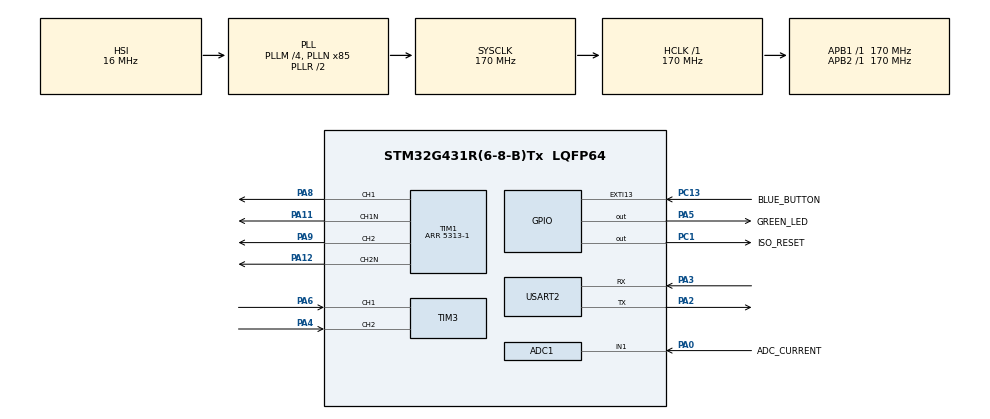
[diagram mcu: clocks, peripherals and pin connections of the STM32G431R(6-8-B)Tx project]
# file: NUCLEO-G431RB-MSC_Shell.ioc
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ADC1.Channel-0\#ChannelRegularConversion=ADC_CHANNEL_1
ADC1.ContinuousConvMode=DISABLE
ADC1.DMAContinuousRequests=ENABLE
ADC1.ExternalTrigConv=ADC_EXTERNALTRIG_T8_TRGO
ADC1.NbrOfConversion=1
ADC1.NbrOfConversionFlag=1
ADC1.OffsetNumber-0\#ChannelRegularConversion=ADC_OFFSET_NONE
ADC1.Rank-0\#ChannelRegularConversion=1
ADC1.SamplingTime-0\#ChannelRegularConversion=ADC_SAMPLETIME_2CYCLES_5
ADC1.master=1
Dma.ADC1.0.Direction=DMA_PERIPH_TO_MEMORY
Dma.ADC1.0.EventEnable=DISABLE
Dma.ADC1.0.Instance=DMA1_Channel1
Dma.ADC1.0.MemDataAlignment=DMA_MDATAALIGN_HALFWORD
Dma.ADC1.0.MemInc=DMA_MINC_ENABLE
Dma.ADC1.0.Mode=DMA_CIRCULAR
Dma.ADC1.0.PeriphDataAlignment=DMA_PDATAALIGN_HALFWORD
Dma.ADC1.0.PeriphInc=DMA_PINC_DISABLE
Dma.ADC1.0.Polarity=HAL_DMAMUX_REQ_GEN_RISING
Dma.ADC1.0.Priority=DMA_PRIORITY_LOW
Dma.ADC1.0.RequestNumber=1
Dma.ADC1.0.SignalID=NONE
Dma.ADC1.0.SyncEnable=DISABLE
Dma.ADC1.0.SyncPolarity=HAL_DMAMUX_SYNC_NO_EVENT
Dma.ADC1.0.SyncRequestNumber=1
Dma.ADC1.0.SyncSignalID=NONE
Dma.Request0=ADC1
Mcu.Family=STM32G4
Mcu.Name=STM32G431R(6-8-B)Tx
Mcu.Package=LQFP64
NVIC.ADC1_2_IRQn=true\:0\:0\:false\:false\:true\:true\:true\:true
NVIC.DMA1_Channel1_IRQn=true\:0\:0\:false\:false\:true\:false\:true\:true
NVIC.PriorityGroup=NVIC_PRIORITYGROUP_4
NVIC.TIM4_IRQn=true\:0\:0\:false\:false\:true\:true\:true\:true
NVIC.TIM6_DAC_IRQn=true\:15\:0\:false\:false\:true\:false\:true\:true
NVIC.TimeBase=TIM6_DAC_IRQn
NVIC.TimeBaseIP=TIM6
NVIC.USART2_IRQn=true\:0\:0\:false\:false\:true\:true\:true\:true
PA0.GPIO_Label=ADC_CURRENT
PA0.Mode=IN1-Single-Ended
PA0.Signal=ADC1_IN1
PA11.Mode=PWM Generation1 CH1 CH1N
PA11.Signal=TIM1_CH1N
PA12.Mode=PWM Generation2 CH2 CH2N
PA12.Signal=TIM1_CH2N
PA13.GPIO_Label=T_SWDIO
PA13.Mode=Serial_Wire
PA13.Signal=SYS_JTMS-SWDIO
PA14.GPIO_Label=T_SWCLK
PA14.Mode=Serial_Wire
PA14.Signal=SYS_JTCK-SWCLK
PA2.Mode=Asynchronous
PA2.Signal=USART2_TX
PA3.Mode=Asynchronous
PA3.Signal=USART2_RX
PA4.Signal=S_TIM3_CH2
PA5.GPIO_Label=GREEN_LED
PA5.Signal=GPIO_Output
PA6.Signal=S_TIM3_CH1
PA8.Signal=S_TIM1_CH1
PA9.Signal=S_TIM1_CH2
PC1.GPIO_Label=ISO_RESET
PC1.Signal=GPIO_Output
PC13.GPIO_Label=BLUE_BUTTON
PC13.Signal=GPXTI13
PC14-OSC32_IN.Mode=LSE-External-Oscillator
PC14-OSC32_IN.Signal=RCC_OSC32_IN
PC15-OSC32_OUT.Mode=LSE-External-Oscillator
PC15-OSC32_OUT.Signal=RCC_OSC32_OUT
PF0-OSC_IN.Mode=HSE-External-Oscillator
PF0-OSC_IN.Signal=RCC_OSC_IN
PF1-OSC_OUT.Mode=HSE-External-Oscillator
PF1-OSC_OUT.Signal=RCC_OSC_OUT
ProjectManager.HeapSize=0x200
ProjectManager.StackSize=0x400
ProjectManager.TargetToolchain=STM32CubeIDE
RCC.ADC12Freq_Value=170000000
RCC.AHBFreq_Value=170000000
RCC.APB1Freq_Value=170000000
RCC.APB1TimFreq_Value=170000000
RCC.APB2Freq_Value=170000000
RCC.APB2TimFreq_Value=170000000
RCC.CortexFreq_Value=170000000
RCC.EXTERNAL_CLOCK_VALUE=12288000
RCC.HCLKFreq_Value=170000000
RCC.HSE_VALUE=24000000
RCC.HSI48_VALUE=48000000
RCC.HSI_VALUE=16000000
RCC.PLLM=RCC_PLLM_DIV4
RCC.PLLN=85
RCC.RTCClockSelection=RCC_RTCCLKSOURCE_LSE
RCC.SYSCLKFreq_VALUE=170000000
RCC.SYSCLKSource=RCC_SYSCLKSOURCE_PLLCLK
RCC.USBFreq_Value=170000000
RCC.VCOOutputFreq_Value=340000000
SH.S_TIM1_CH1.0=TIM1_CH1,PWM Generation1 CH1 CH1N
SH.S_TIM1_CH2.0=TIM1_CH2,PWM Generation2 CH2 CH2N
SH.S_TIM3_CH1.0=TIM3_CH1,Encoder_Interface
SH.S_TIM3_CH2.0=TIM3_CH2,Encoder_Interface
TIM1.AutoReloadPreload=TIM_AUTORELOAD_PRELOAD_ENABLE
TIM1.Channel-PWM\ Generation1\ CH1\ CH1N=TIM_CHANNEL_1
TIM1.Channel-PWM\ Generation2\ CH2\ CH2N=TIM_CHANNEL_2
TIM1.CounterMode=TIM_COUNTERMODE_CENTERALIGNED1
TIM1.DeadTime=203
TIM1.PeriodNoDither=5313-1
TIM1.PulseNoDither_1=1329-1
TIM1.PulseNoDither_2=3987-1
TIM1.TIM_MasterOutputTrigger=TIM_TRGO_RESET
TIM1.TIM_MasterSlaveMode=TIM_MASTERSLAVEMODE_DISABLE
TIM3.EncoderMode=TIM_ENCODERMODE_TI12
TIM4.PeriodNoDither=100-1
TIM4.Prescaler=17000-1
TIM8.PeriodNoDither=531-1
TIM8.Prescaler=0
TIM8.TIM_MasterOutputTrigger=TIM_TRGO_UPDATE
TIM8.TIM_MasterSlaveMode=TIM_MASTERSLAVEMODE_ENABLE
USART2.VirtualMode-Asynchronous=VM_ASYNC
VP_SYS_VS_tim6.Mode=TIM6
VP_TIM1_VS_ClockSourceINT.Mode=Internal
VP_TIM4_VS_ClockSourceINT.Mode=Internal
VP_TIM8_VS_ClockSourceINT.Mode=Internal
board=NUCLEO-G431RB

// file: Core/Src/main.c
/* USER CODE BEGIN Header */
/**
 ******************************************************************************
 * @file           : main.c
 * @brief          : Main program body
 ******************************************************************************
 * @attention
 *
 * Copyright (c) 2022 STMicroelectronics.
 * All rights reserved.
 *
 * This software is licensed under terms that can be found in the LICENSE file
 * in the root directory of this software component.
 * If no LICENSE file comes with this software, it is provided AS-IS.
 *
 ******************************************************************************
 */
/* USER CODE END Header */
#include "main.h"

/* USER CODE BEGIN Includes */
#include <math.h>
#include <stdio.h>
/* USER CODE END Includes */

/* USER CODE BEGIN PD */
#define UART_TX_BUFFER_SIZE 64
#define UART_RX_BUFFER_SIZE 1
#define CMD_BUFFER_SIZE 64
#define MAX_ARGS 9
//ADC DMA defines
#define ADC_BUFF_SIZE 10
// LF = line feed, saut de ligne
#define ASCII_LF 0x0A
// CR = carriage return, retour chariot
#define ASCII_CR 0x0D
// DEL = delete
#define ASCII_DEL 0x7F
#define TIM1_ARR 5312
//ISO_RESET
#define ISO_RESET_TIME 70
//SPEED TIMERS DEFINES
#define HALF_COUNTER_ENCODER 32767
#define SAMPLING_FREQ_SPEED 100
#define RISES_PER_TURN 4096

//CURRENT SAMPLING PARAMETERS
#define SAMPLING_FREQ_CURRENT 32000

//integral and proportional gains for current loop
#define KpC 0.0342717381517845
#define KiC 25.206814338745
// #define KiC 0.00118870172705228
//integral and proportional gains for speed loop
#define KpS 2.25311945059239
#define KiS 7.88672319650441

#define NOMINAL_CURRENT 12.2
/* USER CODE END PD */

ADC_HandleTypeDef hadc1;
DMA_HandleTypeDef hdma_adc1;

TIM_HandleTypeDef htim1;
TIM_HandleTypeDef htim3;
TIM_HandleTypeDef htim4;
TIM_HandleTypeDef htim8;

UART_HandleTypeDef huart2;

/* USER CODE BEGIN PV */
uint8_t prompt[]="user@Nucleo-STM32G431>>";
uint8_t started[]=
		"\r\n*-----------------------------*"
		"\r\n| Welcome on Nucleo-STM32G431 |"
		"\r\n*-----------------------------*"
		"\r\n";
uint8_t newline[]="\r\n";
uint8_t cmdNotFound[]="Command not found\r\n";
uint8_t helpContent[]="\r\n set \r\n get \r\n pinout \r\n start \r\n stop \r\n dutycycle - value between 0 and 100 \r\n current - value in mAmpere requested \r\n \r\n";
uint8_t pinoutContent[]="\r\n PA2: USART TX \r\n PA3: USART RX \r\n PA5: LED \r\n PA8: TIM1_CH1 \r\n PA9: TIM1_CH2 \r\n PA11: TIM1_CH1N \r\n PA12: TIM1_CH2N \r\n PC13: BUTTON \r\n";
uint8_t startContent[]="\r\n power on \r\n";
uint8_t stopContent[]="\r\n power off \r\n";
uint8_t dutyCycleChoiceContent[]="\r\n duty cycle value chosen \r\n";
uint8_t CurrentChoiceContent[]="\r\n current value chosen \r\n";
int dutycycle; /**< value between 1 and 0 */
int pulse;

uint32_t uartRxReceived;
uint32_t DMA_Received; /**< variable used as a flag. If it is 1 the DMA buffer is full and the current average calculation process can be performed, if it is 0 DMA is not full yet */
uint8_t uartRxBuffer[UART_RX_BUFFER_SIZE];
uint8_t uartTxBuffer[UART_TX_BUFFER_SIZE];
uint16_t ADC_buffer[ADC_BUFF_SIZE];
int i=0; /**< used for ISO_RESET time counter and to sum elements in DMA buffer */

uint16_t Raw_Data_Sum=0; /**< variable in which is stored the sum of all the raw values from the sensor */
float Average_Voltage; /**< raw sensed value on average */
float Converted_Average_Voltage; /**< actual voltage value in output, converted ad follows: Converted_Average_Voltage=(Average_Voltage/4095.0)*3.3 */
float Sensed_Current_Value; /**< average current value in output, converted ad follows: Sensed_Current_Value=12*(Converted_Average_Voltage -2.5); values for the conversion are take by datasheet */
float CurrentValueFloat; /**< value of the current at present time */
float requestedCurrent; /**< value in Ampere */
float errorI[2];/**<array with the values of the current error at previous time instant, errorI[0], and present time instant, errorI[1] */
float alphaI[2];/**<array with the values of the dutycycle value of the integral part of the controller at previous time instant, errorI[0], and present time instant, errorI[1]*/
float alphaP; /**< proportional part of current control*/
float oldCurrent;  /**<value of the current at the previous time instant used for PI controller. Set at the beginning to 0*/

float RotSpeed;
float requestedSpeed; //**< value in rpm*/
float speedP;  /**< proportional part of speed control*/
float errorS[2];/**<array with the values of the speed error at previous time instant, errorI[0], and present time instant, errorI[1] */
float speedI[2];/**<array with the values of the speed value of the integral part of the controller at previous time instant, errorI[0], and present time instant, errorI[1]*/
char Current_Sensed[50];
int CurrentPIcontrollerEnable=0;
int SpeedPIcontrollerEnable=0;
int k=0;  /**< used in the for to print the sensed current value with a delay (only for debug) */

static uint32_t EncoderCounterValue;
char Speed_Sensed[50];
int CounterTaken = 0;
float speed;
/* USER CODE END PV */

void SystemClock_Config(void);
static void MX_GPIO_Init(void);
static void MX_DMA_Init(void);
static void MX_USART2_UART_Init(void);
static void MX_TIM1_Init(void);
static void MX_ADC1_Init(void);
static void MX_TIM8_Init(void);
static void MX_TIM3_Init(void);
static void MX_TIM4_Init(void);
/* USER CODE BEGIN PFP */

/**
 * @brief ISO_RESET signal function
 * @note   This function is called  when command "start" is written in the terminal
 * ISO_RESET pin is set to high level for at least 20 microseconds and then reset to low
 * using a for cycle to delay the operation
 * @param None
 * @retval None
 */
void ISO_RESET()
{
	HAL_GPIO_WritePin(ISO_RESET_GPIO_Port, ISO_RESET_Pin, GPIO_PIN_SET);
	for(i=0; i<ISO_RESET_TIME; i++)
	{
		//wait for at least 2microSec
	}
	HAL_GPIO_WritePin(ISO_RESET_GPIO_Port, ISO_RESET_Pin, GPIO_PIN_RESET);
}
/**
 * @brief PWM timers start function
 * @note   This function is called  when command "start" is written in the terminal
 * after ISO_RESET command the PWM timers are started to command the power supply and then the motor
 * @param None
 * @retval None
 */
void StartPWM()
{
	//Timers start
	HAL_TIM_PWM_Start(&htim1, TIM_CHANNEL_1);
	HAL_TIM_PWM_Start(&htim1, TIM_CHANNEL_2);
	HAL_TIMEx_PWMN_Start(&htim1, TIM_CHANNEL_1);
	HAL_TIMEx_PWMN_Start(&htim1, TIM_CHANNEL_2);
}
/**
 * @brief PWM timers stop function
 * @note   This function is called  when command "stop" is written in the terminal
 * PWM timers are stopped and then the motor is stopped
 * @param None
 * @retval None
 */
void StopPWM()
{
	//Timers stop
	HAL_TIM_PWM_Stop(&htim1, TIM_CHANNEL_1);
	HAL_TIM_PWM_Stop(&htim1, TIM_CHANNEL_2);
	HAL_TIMEx_PWMN_Stop(&htim1, TIM_CHANNEL_1);
	HAL_TIMEx_PWMN_Stop(&htim1, TIM_CHANNEL_2);
}

/**
 * @brief duty cycle function definition
 * @note   This function converts raw voltage data from ADC to current value to be used in the controller
 * @param int
 * @retval None
 */
void DutyCycleFuncDef(int dutycycleIN)
{
	pulse=(dutycycleIN*TIM1_ARR)/100;
	TIM1->CCR1=pulse;
	TIM1->CCR2=TIM1_ARR-pulse;
}
/**
 * @brief current conversion function
 * @note   This function converts raw voltage data from ADC to current value to be used in the controller
 * @param None
 * @retval float
 */
float CurrentConversion()
{
	//HAL_UART_Transmit(&huart2, "DMA current recieved\r\n ", sizeof("DMA current recieved\r\n"), HAL_MAX_DELAY);
	Raw_Data_Sum=0;
	for(i=0;i<10;i++){
		Raw_Data_Sum=Raw_Data_Sum+ADC_buffer[i];
	}
	Average_Voltage=Raw_Data_Sum/ADC_BUFF_SIZE;
	Converted_Average_Voltage=(Average_Voltage/4095.0)*3.3;
	Sensed_Current_Value=12*(Converted_Average_Voltage -2.5); //usually 12 but for this acheur is 2,25 (3x1,5/2)
	sprintf(Current_Sensed, "current sensed is %.3f \r\n", Sensed_Current_Value);
	//for debug - prints current value
	if(k==100000){
		HAL_UART_Transmit(&huart2, Current_Sensed, sizeof(Current_Sensed), HAL_MAX_DELAY);
		//HAL_UART_Transmit(&huart2, ADC_buffer, sizeof(ADC_buffer), HAL_MAX_DELAY);
		k=0;
	}
	return Sensed_Current_Value;
}
/**
 * @brief speed calculation from encoder counter value
 * @note   This function converts encoder counter value in speed in rad/sec
 * @param int
 * @retval float
 */
float SpeedCalculation(uint32_t counter)
{
	speed = 2 * 3.14 * (((float)counter-HALF_COUNTER_ENCODER)/RISES_PER_TURN) * SAMPLING_FREQ_SPEED;
	return speed;
}
/**
 * @brief PI controller for current loop
 * @note   this note takes the value of the current requested by the user and determines the duty cycle. The PI controller gains are determined with simulation and
 * are defined values. The anti wind-up is done as well in the controller. Current values are defined globally and used in the function.
 * the output value is the dutycycle value, between 0 and 100
 * @param float
 * @retval int
 */
int CurrentPI(float CurrentReq)
{
	int alpha;

	//new error calculation
	errorI[1]=CurrentReq-CurrentValueFloat;

	//proportional and integral alpha calculation
	alphaP=KpC*errorI[1];
	alphaI[1]=alphaI[0]+((KiC/(2*SAMPLING_FREQ_CURRENT))*(errorI[1]+errorI[0]));
	alpha= 100*(alphaP+alphaI[1]);

	//error and alpha values storage
	errorI[0]=errorI[1];
	alphaI[0]=alphaI[1];

	//anti wind-up
	if(alpha>100)
	{
		alpha=100;
		alphaI[0]=1;
	}
	else if(alpha<0)
	{
		alpha=0;
		alphaI[0]=0;
	}
	return alpha;

}
/**
 * @brief PI controller for speed loop
 * @note   this note takes the value of the current requested by the user and determines the duty cycle. The PI controller gains are determined with simulation and
 * are defined values. The anti wind-up is done as well in the controller. Current values are defined globally and used in the function.
 * the output value is the current needed for the speed requested
 * @param float
 * @retval int
 */
float SpeedPI(float SpeedReq)
{
	float currentControlled;

	//new error calculation
	errorS[1]=SpeedReq - RotSpeed;

	//proportional and integral alpha calculation
	speedP=KpS*errorS[1];
	speedI[1]=speedI[0]+((KiS/(2*SAMPLING_FREQ_SPEED))*(errorS[1]+errorS[0]));
	currentControlled = (speedP+speedI[1]);

	//error and alpha values storage
	errorS[0]=errorS[1];
	speedI[0]=speedI[1];

	//anti wind-up
	if(currentControlled>NOMINAL_CURRENT)
	{
		currentControlled=NOMINAL_CURRENT;
		errorS[0]=NOMINAL_CURRENT;
	}
	else if(currentControlled<-NOMINAL_CURRENT)
	{
		currentControlled=-NOMINAL_CURRENT;
		errorS[0]=-NOMINAL_CURRENT;
	}
	return currentControlled;

}
/* USER CODE END PFP */

int main(void)
{
	/* USER CODE BEGIN 1 */
	char	 	cmdBuffer[CMD_BUFFER_SIZE];
	int 		idx_cmd;
	char* 		argv[MAX_ARGS];
	int		 	argc = 0;
	char*		token;
	int 		newCmdReady = 0;
	//variable initialization
	oldCurrent=0;
	errorI[0]=0;
	alphaI[0]=0.5;
	CurrentValueFloat=0;
	errorS[0]=0;
	speedI[0]=0;
	/* USER CODE END 1 */

	/* MCU Configuration--------------------------------------------------------*/

	/* Reset of all peripherals, Initializes the Flash interface and the Systick. */
	HAL_Init();

	/* Configure the system clock */
	SystemClock_Config();

	/* Initialize all configured peripherals */
	MX_GPIO_Init();
	MX_DMA_Init();
	MX_USART2_UART_Init();
	MX_TIM1_Init();
	MX_ADC1_Init();
	MX_TIM8_Init();
	MX_TIM3_Init();
	MX_TIM4_Init();
	/* USER CODE BEGIN 2 */
	memset(argv,NULL,MAX_ARGS*sizeof(char*));
	memset(cmdBuffer,NULL,CMD_BUFFER_SIZE*sizeof(char));
	memset(uartRxBuffer,NULL,UART_RX_BUFFER_SIZE*sizeof(char));
	memset(uartTxBuffer,NULL,UART_TX_BUFFER_SIZE*sizeof(char));

	HAL_UART_Receive_IT(&huart2, uartRxBuffer, UART_RX_BUFFER_SIZE);
	HAL_Delay(10);
	HAL_UART_Transmit(&huart2, started, sizeof(started), HAL_MAX_DELAY);
	HAL_UART_Transmit(&huart2, prompt, sizeof(prompt), HAL_MAX_DELAY);

	//ADC starting functions
	HAL_ADCEx_Calibration_Start(&hadc1,ADC_SINGLE_ENDED);
	HAL_ADC_Start_DMA(&hadc1, ADC_buffer, ADC_BUFF_SIZE);
	HAL_TIM_Base_Start(&htim8);

	//Encoder mode TIM3 starting
	HAL_TIM_Encoder_Start_IT(&htim3, TIM_CHANNEL_ALL);
	__HAL_TIM_SET_COUNTER(&htim3, HALF_COUNTER_ENCODER); //set the counter to the half value

	// TIM4 start. Used to measure the time and determine speed
	HAL_TIM_Base_Start_IT(&htim4);

	/* USER CODE END 2 */

	/* Infinite loop */
	/* USER CODE BEGIN WHILE */
	while (1)
	{
		// uartRxReceived is set to 1 when a new character is received on uart 1
		if(uartRxReceived){
			switch(uartRxBuffer[0]){
			// Nouvelle ligne, instruction à traiter
			case ASCII_CR:
				HAL_UART_Transmit(&huart2, newline, sizeof(newline), HAL_MAX_DELAY);
				cmdBuffer[idx_cmd] = '\0';
				argc = 0;
				token = strtok(cmdBuffer, " ");
				while(token!=NULL){
					argv[argc++] = token;
					token = strtok(NULL, " ");
				}

				//requested echo transmission to check characters

				HAL_UART_Transmit(&huart2, "\r\n ", sizeof("\r\n "), HAL_MAX_DELAY);
				HAL_UART_Transmit(&huart2, cmdBuffer, sizeof(cmdBuffer), HAL_MAX_DELAY);
				HAL_UART_Transmit(&huart2, "\r\n ", sizeof("\r\n "), HAL_MAX_DELAY);

				idx_cmd = 0;
				newCmdReady = 1;
				break;
				// Suppression du dernier caractère
			case ASCII_DEL:
				cmdBuffer[idx_cmd--] = '\0';
				HAL_UART_Transmit(&huart2, uartRxBuffer, UART_RX_BUFFER_SIZE, HAL_MAX_DELAY);
				break;
				// Nouveau caractère
			default:
				cmdBuffer[idx_cmd++] = uartRxBuffer[0];
				HAL_UART_Transmit(&huart2, uartRxBuffer, UART_RX_BUFFER_SIZE, HAL_MAX_DELAY);
			}
			uartRxReceived = 0;
		}

		if(newCmdReady){
			if(strcmp(argv[0],"set")==0){
				if(strcmp(argv[1],"PA5")==0){
					HAL_GPIO_WritePin(GREEN_LED_GPIO_Port, GREEN_LED_Pin, atoi(argv[2]));
					sprintf(uartTxBuffer,"Switch on/off led : %d\r\n",atoi(argv[2]));
					HAL_UART_Transmit(&huart2, uartTxBuffer, 32, HAL_MAX_DELAY);
				}
				else{
					HAL_UART_Transmit(&huart2, cmdNotFound, sizeof(cmdNotFound), HAL_MAX_DELAY);
				}
			}
			else if(strcmp(argv[0],"get")==0)
			{
				HAL_UART_Transmit(&huart2, cmdNotFound, sizeof(cmdNotFound), HAL_MAX_DELAY);
			}

			// help function prints all the available commands
			else if(strcmp(argv[0],"help")==0){
				HAL_UART_Transmit(&huart2, helpContent, sizeof(helpContent), HAL_MAX_DELAY);
			}
			else if(strcmp(argv[0],"pinout")==0){
				HAL_UART_Transmit(&huart2, pinoutContent, sizeof(pinoutContent), HAL_MAX_DELAY);
			}
			else if(strcmp(argv[0],"start")==0){
				HAL_UART_Transmit(&huart2, startContent, sizeof(startContent), HAL_MAX_DELAY);

				//ISO_RESET code
				ISO_RESET();

				//Timers start and dutycycle setting at 50

				dutycycle= 50;
				DutyCycleFuncDef(dutycycle);
				errorI[0]=0;
				alphaI[0]=0.5;
				errorS[0]=0;
				speedI[0]=0;
				StartPWM();

			}
			else if(strcmp(argv[0],"stop")==0){
				HAL_UART_Transmit(&huart2, stopContent, sizeof(stopContent), HAL_MAX_DELAY);
				StopPWM();

				//reset of PWM timers at 50 dutycycle
				dutycycle= 50;
				DutyCycleFuncDef(dutycycle);

				//setting integral error to zero
				errorI[0]=0;
				alphaI[1]=0;
				errorS[0]=0;
				speedI[1]=0;
				CurrentPIcontrollerEnable=0;
				SpeedPIcontrollerEnable=0;

			}
			else if(strcmp(argv[0],"dutycycle")==0){

				HAL_UART_Transmit(&huart2, dutyCycleChoiceContent, sizeof(dutyCycleChoiceContent), HAL_MAX_DELAY);

				dutycycle= atoi(argv[1]);
				DutyCycleFuncDef(dutycycle);

			}
			else if(strcmp(argv[0],"current")==0){

				HAL_UART_Transmit(&huart2, CurrentChoiceContent, sizeof(CurrentChoiceContent), HAL_MAX_DELAY);

				requestedCurrent= atoi(argv[1])/1000.0; // implicit cast from int to float. value from mAmpere to Ampere in float
				CurrentPIcontrollerEnable=1;

			}
			else if(strcmp(argv[0],"speed")==0){

				HAL_UART_Transmit(&huart2, CurrentChoiceContent, sizeof(CurrentChoiceContent), HAL_MAX_DELAY);

				requestedSpeed= atoi(argv[1]); // int value in rpm
				CurrentPIcontrollerEnable=1;
				SpeedPIcontrollerEnable=1;

			}
			else{
				HAL_UART_Transmit(&huart2, cmdNotFound, sizeof(cmdNotFound), HAL_MAX_DELAY);
			}
			HAL_UART_Transmit(&huart2, prompt, sizeof(prompt), HAL_MAX_DELAY);
			newCmdReady = 0;
		}

		if(DMA_Received)
		{
			oldCurrent=CurrentValueFloat;
			CurrentValueFloat=CurrentConversion();

			k++; //value used for debug

			//current controller
			if (CurrentPIcontrollerEnable)
			{
				dutycycle=CurrentPI(requestedCurrent);
				DutyCycleFuncDef(dutycycle);
			}
			DMA_Received=0;
		}
		if (CounterTaken==1)
		{
			RotSpeed = SpeedCalculation(EncoderCounterValue);
			CounterTaken=0;
			/*if(SpeedPIcontrollerEnable=1)
				requestedCurrent=SpeedPI(requestedSpeed);*/
		}
		if(k==54321)
		{
			sprintf(Speed_Sensed, "speed value is %.1f radiant/second \r\n ", RotSpeed);
			HAL_UART_Transmit(&huart2,Speed_Sensed , sizeof(Speed_Sensed), HAL_MAX_DELAY);
		}

		/* USER CODE END WHILE */

	}
}

void SystemClock_Config(void)
{
	RCC_OscInitTypeDef RCC_OscInitStruct = {0};
	RCC_ClkInitTypeDef RCC_ClkInitStruct = {0};

	/** Configure the main internal regulator output voltage
	 */
	HAL_PWREx_ControlVoltageScaling(PWR_REGULATOR_VOLTAGE_SCALE1_BOOST);

	/** Initializes the RCC Oscillators according to the specified parameters
	 * in the RCC_OscInitTypeDef structure.
	 */
	RCC_OscInitStruct.OscillatorType = RCC_OSCILLATORTYPE_HSI;
	RCC_OscInitStruct.HSIState = RCC_HSI_ON;
	RCC_OscInitStruct.HSICalibrationValue = RCC_HSICALIBRATION_DEFAULT;
	RCC_OscInitStruct.PLL.PLLState = RCC_PLL_ON;
	RCC_OscInitStruct.PLL.PLLSource = RCC_PLLSOURCE_HSI;
	RCC_OscInitStruct.PLL.PLLM = RCC_PLLM_DIV4;
	RCC_OscInitStruct.PLL.PLLN = 85;
	RCC_OscInitStruct.PLL.PLLP = RCC_PLLP_DIV2;
	RCC_OscInitStruct.PLL.PLLQ = RCC_PLLQ_DIV2;
	RCC_OscInitStruct.PLL.PLLR = RCC_PLLR_DIV2;
	if (HAL_RCC_OscConfig(&RCC_OscInitStruct) != HAL_OK)
	{
		Error_Handler();
	}

	/** Initializes the CPU, AHB and APB buses clocks
	 */
	RCC_ClkInitStruct.ClockType = RCC_CLOCKTYPE_HCLK|RCC_CLOCKTYPE_SYSCLK
			|RCC_CLOCKTYPE_PCLK1|RCC_CLOCKTYPE_PCLK2;
	RCC_ClkInitStruct.SYSCLKSource = RCC_SYSCLKSOURCE_PLLCLK;
	RCC_ClkInitStruct.AHBCLKDivider = RCC_SYSCLK_DIV1;
	RCC_ClkInitStruct.APB1CLKDivider = RCC_HCLK_DIV1;
	RCC_ClkInitStruct.APB2CLKDivider = RCC_HCLK_DIV1;

	if (HAL_RCC_ClockConfig(&RCC_ClkInitStruct, FLASH_LATENCY_4) != HAL_OK)
	{
		Error_Handler();
	}
}

static void MX_ADC1_Init(void)
{

	ADC_MultiModeTypeDef multimode = {0};
	ADC_ChannelConfTypeDef sConfig = {0};

	/** Common config
	 */
	hadc1.Instance = ADC1;
	hadc1.Init.ClockPrescaler = ADC_CLOCK_SYNC_PCLK_DIV4;
	hadc1.Init.Resolution = ADC_RESOLUTION_12B;
	hadc1.Init.DataAlign = ADC_DATAALIGN_RIGHT;
	hadc1.Init.GainCompensation = 0;
	hadc1.Init.ScanConvMode = ADC_SCAN_DISABLE;
	hadc1.Init.EOCSelection = ADC_EOC_SINGLE_CONV;
	hadc1.Init.LowPowerAutoWait = DISABLE;
	hadc1.Init.ContinuousConvMode = DISABLE;
	hadc1.Init.NbrOfConversion = 1;
	hadc1.Init.DiscontinuousConvMode = DISABLE;
	hadc1.Init.ExternalTrigConv = ADC_EXTERNALTRIG_T8_TRGO;
	hadc1.Init.ExternalTrigConvEdge = ADC_EXTERNALTRIGCONVEDGE_RISING;
	hadc1.Init.DMAContinuousRequests = ENABLE;
	hadc1.Init.Overrun = ADC_OVR_DATA_PRESERVED;
	hadc1.Init.OversamplingMode = DISABLE;
	if (HAL_ADC_Init(&hadc1) != HAL_OK)
	{
		Error_Handler();
	}

	/** Configure the ADC multi-mode
	 */
	multimode.Mode = ADC_MODE_INDEPENDENT;
	if (HAL_ADCEx_MultiModeConfigChannel(&hadc1, &multimode) != HAL_OK)
	{
		Error_Handler();
	}

	/** Configure Regular Channel
	 */
	sConfig.Channel = ADC_CHANNEL_1;
	sConfig.Rank = ADC_REGULAR_RANK_1;
	sConfig.SamplingTime = ADC_SAMPLETIME_2CYCLES_5;
	sConfig.SingleDiff = ADC_SINGLE_ENDED;
	sConfig.OffsetNumber = ADC_OFFSET_NONE;
	sConfig.Offset = 0;
	if (HAL_ADC_ConfigChannel(&hadc1, &sConfig) != HAL_OK)
	{
		Error_Handler();
	}

}

static void MX_TIM1_Init(void)
{

	TIM_ClockConfigTypeDef sClockSourceConfig = {0};
	TIM_MasterConfigTypeDef sMasterConfig = {0};
	TIM_OC_InitTypeDef sConfigOC = {0};
	TIM_BreakDeadTimeConfigTypeDef sBreakDeadTimeConfig = {0};

	htim1.Instance = TIM1;
	htim1.Init.Prescaler = 0;
	htim1.Init.CounterMode = TIM_COUNTERMODE_CENTERALIGNED1;
	htim1.Init.Period = 5312;
	htim1.Init.ClockDivision = TIM_CLOCKDIVISION_DIV1;
	htim1.Init.RepetitionCounter = 0;
	htim1.Init.AutoReloadPreload = TIM_AUTORELOAD_PRELOAD_ENABLE;
	if (HAL_TIM_Base_Init(&htim1) != HAL_OK)
	{
		Error_Handler();
	}
	sClockSourceConfig.ClockSource = TIM_CLOCKSOURCE_INTERNAL;
	if (HAL_TIM_ConfigClockSource(&htim1, &sClockSourceConfig) != HAL_OK)
	{
		Error_Handler();
	}
	if (HAL_TIM_PWM_Init(&htim1) != HAL_OK)
	{
		Error_Handler();
	}
	sMasterConfig.MasterOutputTrigger = TIM_TRGO_RESET;
	sMasterConfig.MasterOutputTrigger2 = TIM_TRGO2_RESET;
	sMasterConfig.MasterSlaveMode = TIM_MASTERSLAVEMODE_DISABLE;
	if (HAL_TIMEx_MasterConfigSynchronization(&htim1, &sMasterConfig) != HAL_OK)
	{
		Error_Handler();
	}
	sConfigOC.OCMode = TIM_OCMODE_PWM1;
	sConfigOC.Pulse = 1328;
	sConfigOC.OCPolarity = TIM_OCPOLARITY_HIGH;
	sConfigOC.OCNPolarity = TIM_OCNPOLARITY_HIGH;
	sConfigOC.OCFastMode = TIM_OCFAST_DISABLE;
	sConfigOC.OCIdleState = TIM_OCIDLESTATE_RESET;
	sConfigOC.OCNIdleState = TIM_OCNIDLESTATE_RESET;
	if (HAL_TIM_PWM_ConfigChannel(&htim1, &sConfigOC, TIM_CHANNEL_1) != HAL_OK)
	{
		Error_Handler();
	}
	sConfigOC.Pulse = 3986;
	if (HAL_TIM_PWM_ConfigChannel(&htim1, &sConfigOC, TIM_CHANNEL_2) != HAL_OK)
	{
		Error_Handler();
	}
	sBreakDeadTimeConfig.OffStateRunMode = TIM_OSSR_DISABLE;
	sBreakDeadTimeConfig.OffStateIDLEMode = TIM_OSSI_DISABLE;
	sBreakDeadTimeConfig.LockLevel = TIM_LOCKLEVEL_OFF;
	sBreakDeadTimeConfig.DeadTime = 203;
	sBreakDeadTimeConfig.BreakState = TIM_BREAK_DISABLE;
	sBreakDeadTimeConfig.BreakPolarity = TIM_BREAKPOLARITY_HIGH;
	sBreakDeadTimeConfig.BreakFilter = 0;
	sBreakDeadTimeConfig.BreakAFMode = TIM_BREAK_AFMODE_INPUT;
	sBreakDeadTimeConfig.Break2State = TIM_BREAK2_DISABLE;
	sBreakDeadTimeConfig.Break2Polarity = TIM_BREAK2POLARITY_HIGH;
	sBreakDeadTimeConfig.Break2Filter = 0;
	sBreakDeadTimeConfig.Break2AFMode = TIM_BREAK_AFMODE_INPUT;
	sBreakDeadTimeConfig.AutomaticOutput = TIM_AUTOMATICOUTPUT_DISABLE;
	if (HAL_TIMEx_ConfigBreakDeadTime(&htim1, &sBreakDeadTimeConfig) != HAL_OK)
	{
		Error_Handler();
	}
	HAL_TIM_MspPostInit(&htim1);

}

static void MX_TIM3_Init(void)
{

	TIM_Encoder_InitTypeDef sConfig = {0};
	TIM_MasterConfigTypeDef sMasterConfig = {0};

	htim3.Instance = TIM3;
	htim3.Init.Prescaler = 0;
	htim3.Init.CounterMode = TIM_COUNTERMODE_UP;
	htim3.Init.Period = 65535;
	htim3.Init.ClockDivision = TIM_CLOCKDIVISION_DIV1;
	htim3.Init.AutoReloadPreload = TIM_AUTORELOAD_PRELOAD_DISABLE;
	sConfig.EncoderMode = TIM_ENCODERMODE_TI12;
	sConfig.IC1Polarity = TIM_ICPOLARITY_RISING;
	sConfig.IC1Selection = TIM_ICSELECTION_DIRECTTI;
	sConfig.IC1Prescaler = TIM_ICPSC_DIV1;
	sConfig.IC1Filter = 0;
	sConfig.IC2Polarity = TIM_ICPOLARITY_RISING;
	sConfig.IC2Selection = TIM_ICSELECTION_DIRECTTI;
	sConfig.IC2Prescaler = TIM_ICPSC_DIV1;
	sConfig.IC2Filter = 0;
	if (HAL_TIM_Encoder_Init(&htim3, &sConfig) != HAL_OK)
	{
		Error_Handler();
	}
	sMasterConfig.MasterOutputTrigger = TIM_TRGO_RESET;
	sMasterConfig.MasterSlaveMode = TIM_MASTERSLAVEMODE_DISABLE;
	if (HAL_TIMEx_MasterConfigSynchronization(&htim3, &sMasterConfig) != HAL_OK)
	{
		Error_Handler();
	}

}

static void MX_TIM4_Init(void)
{

	TIM_ClockConfigTypeDef sClockSourceConfig = {0};
	TIM_MasterConfigTypeDef sMasterConfig = {0};

	htim4.Instance = TIM4;
	htim4.Init.Prescaler = 17000-1;
	htim4.Init.CounterMode = TIM_COUNTERMODE_UP;
	htim4.Init.Period = 99;
	htim4.Init.ClockDivision = TIM_CLOCKDIVISION_DIV1;
	htim4.Init.AutoReloadPreload = TIM_AUTORELOAD_PRELOAD_DISABLE;
	if (HAL_TIM_Base_Init(&htim4) != HAL_OK)
	{
		Error_Handler();
	}
	sClockSourceConfig.ClockSource = TIM_CLOCKSOURCE_INTERNAL;
	if (HAL_TIM_ConfigClockSource(&htim4, &sClockSourceConfig) != HAL_OK)
	{
		Error_Handler();
	}
	sMasterConfig.MasterOutputTrigger = TIM_TRGO_RESET;
	sMasterConfig.MasterSlaveMode = TIM_MASTERSLAVEMODE_DISABLE;
	if (HAL_TIMEx_MasterConfigSynchronization(&htim4, &sMasterConfig) != HAL_OK)
	{
		Error_Handler();
	}

}

static void MX_TIM8_Init(void)
{

	TIM_ClockConfigTypeDef sClockSourceConfig = {0};
	TIM_MasterConfigTypeDef sMasterConfig = {0};

	htim8.Instance = TIM8;
	htim8.Init.Prescaler = 0;
	htim8.Init.CounterMode = TIM_COUNTERMODE_UP;
	htim8.Init.Period = 530;
	htim8.Init.ClockDivision = TIM_CLOCKDIVISION_DIV1;
	htim8.Init.RepetitionCounter = 0;
	htim8.Init.AutoReloadPreload = TIM_AUTORELOAD_PRELOAD_DISABLE;
	if (HAL_TIM_Base_Init(&htim8) != HAL_OK)
	{
		Error_Handler();
	}
	sClockSourceConfig.ClockSource = TIM_CLOCKSOURCE_INTERNAL;
	if (HAL_TIM_ConfigClockSource(&htim8, &sClockSourceConfig) != HAL_OK)
	{
		Error_Handler();
	}
	sMasterConfig.MasterOutputTrigger = TIM_TRGO_UPDATE;
	sMasterConfig.MasterOutputTrigger2 = TIM_TRGO2_RESET;
	sMasterConfig.MasterSlaveMode = TIM_MASTERSLAVEMODE_ENABLE;
	if (HAL_TIMEx_MasterConfigSynchronization(&htim8, &sMasterConfig) != HAL_OK)
	{
		Error_Handler();
	}

}

static void MX_USART2_UART_Init(void)
{

	huart2.Instance = USART2;
	huart2.Init.BaudRate = 115200;
	huart2.Init.WordLength = UART_WORDLENGTH_8B;
	huart2.Init.StopBits = UART_STOPBITS_1;
	huart2.Init.Parity = UART_PARITY_NONE;
	huart2.Init.Mode = UART_MODE_TX_RX;
	huart2.Init.HwFlowCtl = UART_HWCONTROL_NONE;
	huart2.Init.OverSampling = UART_OVERSAMPLING_16;
	huart2.Init.OneBitSampling = UART_ONE_BIT_SAMPLE_DISABLE;
	huart2.Init.ClockPrescaler = UART_PRESCALER_DIV1;
	huart2.AdvancedInit.AdvFeatureInit = UART_ADVFEATURE_NO_INIT;
	if (HAL_UART_Init(&huart2) != HAL_OK)
	{
		Error_Handler();
	}
	if (HAL_UARTEx_SetTxFifoThreshold(&huart2, UART_TXFIFO_THRESHOLD_1_8) != HAL_OK)
	{
		Error_Handler();
	}
	if (HAL_UARTEx_SetRxFifoThreshold(&huart2, UART_RXFIFO_THRESHOLD_1_8) != HAL_OK)
	{
		Error_Handler();
	}
	if (HAL_UARTEx_DisableFifoMode(&huart2) != HAL_OK)
	{
		Error_Handler();
	}

}

static void MX_DMA_Init(void)
{

	/* DMA controller clock enable */
	__HAL_RCC_DMAMUX1_CLK_ENABLE();
	__HAL_RCC_DMA1_CLK_ENABLE();

	/* DMA interrupt init */
	/* DMA1_Channel1_IRQn interrupt configuration */
	HAL_NVIC_SetPriority(DMA1_Channel1_IRQn, 0, 0);
	HAL_NVIC_EnableIRQ(DMA1_Channel1_IRQn);

}

static void MX_GPIO_Init(void)
{
	GPIO_InitTypeDef GPIO_InitStruct = {0};

	/* GPIO Ports Clock Enable */
	__HAL_RCC_GPIOC_CLK_ENABLE();
	__HAL_RCC_GPIOF_CLK_ENABLE();
	__HAL_RCC_GPIOA_CLK_ENABLE();

	/*Configure GPIO pin Output Level */
	HAL_GPIO_WritePin(ISO_RESET_GPIO_Port, ISO_RESET_Pin, GPIO_PIN_RESET);

	/*Configure GPIO pin Output Level */
	HAL_GPIO_WritePin(GREEN_LED_GPIO_Port, GREEN_LED_Pin, GPIO_PIN_RESET);

	/*Configure GPIO pin : BLUE_BUTTON_Pin */
	GPIO_InitStruct.Pin = BLUE_BUTTON_Pin;
	GPIO_InitStruct.Mode = GPIO_MODE_IT_RISING;
	GPIO_InitStruct.Pull = GPIO_NOPULL;
	HAL_GPIO_Init(BLUE_BUTTON_GPIO_Port, &GPIO_InitStruct);

	/*Configure GPIO pin : ISO_RESET_Pin */
	GPIO_InitStruct.Pin = ISO_RESET_Pin;
	GPIO_InitStruct.Mode = GPIO_MODE_OUTPUT_PP;
	GPIO_InitStruct.Pull = GPIO_NOPULL;
	GPIO_InitStruct.Speed = GPIO_SPEED_FREQ_LOW;
	HAL_GPIO_Init(ISO_RESET_GPIO_Port, &GPIO_InitStruct);

	/*Configure GPIO pin : GREEN_LED_Pin */
	GPIO_InitStruct.Pin = GREEN_LED_Pin;
	GPIO_InitStruct.Mode = GPIO_MODE_OUTPUT_PP;
	GPIO_InitStruct.Pull = GPIO_NOPULL;
	GPIO_InitStruct.Speed = GPIO_SPEED_FREQ_LOW;
	HAL_GPIO_Init(GREEN_LED_GPIO_Port, &GPIO_InitStruct);

}

/* USER CODE BEGIN 4 */

void HAL_UART_RxCpltCallback (UART_HandleTypeDef * huart){
	uartRxReceived=1;
	HAL_UART_Receive_IT(&huart2, uartRxBuffer, UART_RX_BUFFER_SIZE);

}

/**
 * @brief  ADC callback function
 * @note   This function is called  when the DMA buffer of ADC value is full. The DMA_Received variable is set to 1 to start data conversion in the main
 * @param  ADC handler
 * @retval None
 */
void HAL_ADC_ConvCpltCallback(ADC_HandleTypeDef*hadc){
	//HAL_UART_Transmit(&huart2, "DMA callback entered \r\n", sizeof("DMA callback entered \r\n"), HAL_MAX_DELAY);
	DMA_Received=1;
}
/**
 * @brief  TIM4 callback function
 * @note   This function is called with a fixed frequency determined by the timer parameters to calculate the speed, using encoder counters values and frequency
 * @param  None
 * @retval None
 */

/* USER CODE END 4 */

void HAL_TIM_PeriodElapsedCallback(TIM_HandleTypeDef *htim)
{
	if (htim->Instance == TIM6) {
		HAL_IncTick();
	}
	/* USER CODE BEGIN Callback 1 */
	if (htim->Instance == TIM4)
	{
		EncoderCounterValue=__HAL_TIM_GET_COUNTER(&htim3);
		__HAL_TIM_SET_COUNTER(&htim3, HALF_COUNTER_ENCODER);
		CounterTaken = 1;
	}
	/* USER CODE END Callback 1 */
}

void Error_Handler(void)
{
	__disable_irq();
	while (1)
	{
	}
}
